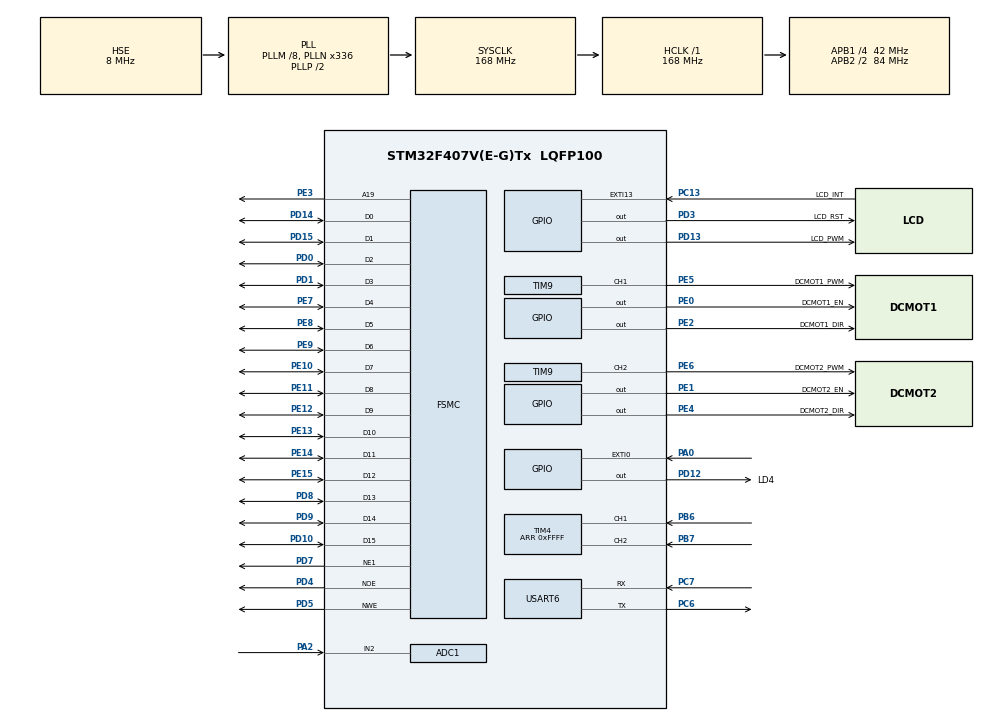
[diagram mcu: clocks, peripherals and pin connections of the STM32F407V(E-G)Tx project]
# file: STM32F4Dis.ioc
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ADC1.Channel-0\#ChannelRegularConversion=ADC_CHANNEL_2
ADC1.NbrOfConversionFlag=1
ADC1.Rank-0\#ChannelRegularConversion=1
ADC1.SamplingTime-0\#ChannelRegularConversion=ADC_SAMPLETIME_3CYCLES
ADC1.master=1
FSMC.AddressSetupTime1=0
FSMC.BusTurnAroundDuration1=0
FSMC.DataSetupTime1=9
FSMC.ExtendedAddressSetupTime1=1
FSMC.ExtendedBusTurnAroundDuration1=1
FSMC.ExtendedDataSetupTime1=10
FSMC.ExtendedMode1=FSMC_EXTENDED_MODE_ENABLE
Mcu.Family=STM32F4
Mcu.Name=STM32F407V(E-G)Tx
Mcu.Package=LQFP100
NVIC.EXTI0_IRQn=true\:0\:0\:false\:false\:true\:true
NVIC.PriorityGroup=NVIC_PRIORITYGROUP_4
NVIC.TIM3_IRQn=true\:0\:0\:false\:true\:true\:2\:true
NVIC.USART6_IRQn=true\:0\:0\:false\:true\:true\:1\:true
PA0-WKUP.Signal=GPXTI0
PA13.Mode=Serial_Wire
PA13.Signal=SYS_JTMS-SWDIO
PA14.Mode=Serial_Wire
PA14.Signal=SYS_JTCK-SWCLK
PA2.Signal=ADCx_IN2
PB6.Signal=S_TIM4_CH1
PB7.Signal=S_TIM4_CH2
PC13-ANTI_TAMP.GPIO_Label=LCD_INT
PC13-ANTI_TAMP.Signal=GPXTI13
PC14-OSC32_IN.Mode=LSE-External-Oscillator
PC14-OSC32_IN.Signal=RCC_OSC32_IN
PC15-OSC32_OUT.Mode=LSE-External-Oscillator
PC15-OSC32_OUT.Signal=RCC_OSC32_OUT
PC6.Mode=Asynchronous
PC6.Signal=USART6_TX
PC7.Mode=Asynchronous
PC7.Signal=USART6_RX
PD0.Mode=16b-d1
PD0.Signal=FSMC_D2
PD1.Mode=16b-d1
PD1.Signal=FSMC_D3
PD10.Mode=16b-d1
PD10.Signal=FSMC_D15
PD12.GPIO_Label=LD4
PD12.GPIO_Speed=GPIO_SPEED_FREQ_VERY_HIGH
PD12.Signal=GPIO_Output
PD13.GPIO_Label=LCD_PWM
PD13.GPIO_Speed=GPIO_SPEED_FREQ_MEDIUM
PD13.PinState=GPIO_PIN_SET
PD13.Signal=GPIO_Output
PD14.Mode=16b-d1
PD14.Signal=FSMC_D0
PD15.Mode=16b-d1
PD15.Signal=FSMC_D1
PD3.GPIO_Label=LCD_RST
PD3.GPIO_Speed=GPIO_SPEED_FREQ_VERY_HIGH
PD3.Signal=GPIO_Output
PD4.Mode=Lcd1
PD4.Signal=FSMC_NOE
PD5.Mode=Lcd1
PD5.Signal=FSMC_NWE
PD7.Mode=NorPsramChipSelect1_1
PD7.Signal=FSMC_NE1
PD8.Mode=16b-d1
PD8.Signal=FSMC_D13
PD9.Mode=16b-d1
PD9.Signal=FSMC_D14
PE0.GPIO_Label=DCMOT1_EN
PE0.Signal=GPIO_Output
PE1.GPIO_Label=DCMOT2_EN
PE1.GPIO_Speed=GPIO_SPEED_FREQ_VERY_HIGH
PE1.Signal=GPIO_Output
PE10.Mode=16b-d1
PE10.Signal=FSMC_D7
PE11.Mode=16b-d1
PE11.Signal=FSMC_D8
PE12.Mode=16b-d1
PE12.Signal=FSMC_D9
PE13.Mode=16b-d1
PE13.Signal=FSMC_D10
PE14.Mode=16b-d1
PE14.Signal=FSMC_D11
PE15.Mode=16b-d1
PE15.Signal=FSMC_D12
PE2.GPIO_Label=DCMOT1_DIR
PE2.GPIO_Speed=GPIO_SPEED_FREQ_VERY_HIGH
PE2.Signal=GPIO_Output
PE3.Mode=A19_1
PE3.Signal=FSMC_A19
PE4.GPIO_Label=DCMOT2_DIR
PE4.GPIO_Speed=GPIO_SPEED_FREQ_VERY_HIGH
PE4.Signal=GPIO_Output
PE5.GPIO_Label=DCMOT1_PWM
PE5.GPIO_Speed=GPIO_SPEED_FREQ_VERY_HIGH
PE5.Signal=S_TIM9_CH1
PE6.GPIO_Label=DCMOT2_PWM
PE6.GPIO_Speed=GPIO_SPEED_FREQ_VERY_HIGH
PE6.Signal=S_TIM9_CH2
PE7.Mode=16b-d1
PE7.Signal=FSMC_D4
PE8.Mode=16b-d1
PE8.Signal=FSMC_D5
PE9.Mode=16b-d1
PE9.Signal=FSMC_D6
PH0-OSC_IN.Mode=HSE-External-Oscillator
PH0-OSC_IN.Signal=RCC_OSC_IN
PH1-OSC_OUT.Mode=HSE-External-Oscillator
PH1-OSC_OUT.Signal=RCC_OSC_OUT
ProjectManager.HeapSize=0x200
ProjectManager.StackSize=0x400
ProjectManager.TargetToolchain=EWARM V8
RCC.48MHZClocksFreq_Value=84000000
RCC.AHBFreq_Value=168000000
RCC.APB1CLKDivider=RCC_HCLK_DIV4
RCC.APB1Freq_Value=42000000
RCC.APB1TimFreq_Value=84000000
RCC.APB2CLKDivider=RCC_HCLK_DIV2
RCC.APB2Freq_Value=84000000
RCC.APB2TimFreq_Value=168000000
RCC.CortexFreq_Value=168000000
RCC.HCLKFreq_Value=168000000
RCC.HSE_VALUE=8000000
RCC.HSI_VALUE=16000000
RCC.PLLM=8
RCC.PLLN=336
RCC.PLLSourceVirtual=RCC_PLLSOURCE_HSE
RCC.SYSCLKFreq_VALUE=168000000
RCC.SYSCLKSource=RCC_SYSCLKSOURCE_PLLCLK
RCC.VCOOutputFreq_Value=336000000
SH.ADCx_IN2.0=ADC1_IN2,IN2
SH.S_TIM4_CH1.0=TIM4_CH1,Encoder_Interface
SH.S_TIM4_CH2.0=TIM4_CH2,Encoder_Interface
SH.S_TIM9_CH1.0=TIM9_CH1,PWM Generation1 CH1
SH.S_TIM9_CH2.0=TIM9_CH2,PWM Generation2 CH2
TIM3.Period=1000-1
TIM3.Prescaler=84-1
TIM4.Period=0xFFFF
TIM9.Channel-PWM\ Generation1\ CH1=TIM_CHANNEL_1
TIM9.Channel-PWM\ Generation2\ CH2=TIM_CHANNEL_2
TIM9.Period=100-1
TIM9.Prescaler=84-1
TIM9.Pulse-PWM\ Generation1\ CH1=0
TIM9.Pulse-PWM\ Generation2\ CH2=0
USART6.VirtualMode=VM_ASYNC
VP_TIM3_VS_ClockSourceINT.Mode=Internal
VP_TIM9_VS_ClockSourceINT.Mode=Internal
board=custom

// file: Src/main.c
/* USER CODE BEGIN Header */
/**
  ******************************************************************************
  * @file           : main.c
  * @brief          : Main program body
  ******************************************************************************
  ** This nEotice applies to any and all portions of this file
  * that are not between comment pairs USER CODE BEGIN and
  * USER CODE END. Other portions of this file, whether
  * inserted by the user or by software development tools
  * are owned by their respective copyright owners.
  *
  * COPYRIGHT(c) 2019 STMicroelectronics
  *
  * Redistribution and use in source and binary forms, with or without modification,
  * are permitted provided that the following conditions are met:
  *   1. Redistributions of source code must retain the above copyright notice,
  *      this list of conditions and the following disclaimer.
  *   2. Redistributions in binary form must reproduce the above copyright notice,
  *      this list of conditions and the following disclaimer in the documentation
  *      and/or other materials provided with the distribution.
  *   3. Neither the name of STMicroelectronics nor the names of its contributors
  *      may be used to endorse or promote products derived from this software
  *      without specific prior written permission.
  *
  * THIS SOFTWARE IS PROVIDED BY THE COPYRIGHT HOLDERS AND CONTRIBUTORS "AS IS"
  * AND ANY EXPRESS OR IMPLIED WARRANTIES, INCLUDING, BUT NOT LIMITED TO, THE
  * IMPLIED WARRANTIES OF MERCHANTABILITY AND FITNESS FOR A PARTICULAR PURPOSE ARE
  * DISCLAIMED. IN NO EVENT SHALL THE COPYRIGHT HOLDER OR CONTRIBUTORS BE LIABLE
  * FOR ANY DIRECT, INDIRECT, INCIDENTAL, SPECIAL, EXEMPLARY, OR CONSEQUENTIAL
  * DAMAGES (INCLUDING, BUT NOT LIMITED TO, PROCUREMENT OF SUBSTITUTE GOODS OR
  * SERVICES; LOSS OF USE, DATA, OR PROFITS; OR BUSINESS INTERRUPTION) HOWEVER
  * CAUSED AND ON ANY THEORY OF LIABILITY, WHETHER IN CONTRACT, STRICT LIABILITY,
  * OR TORT (INCLUDING NEGLIGENCE OR OTHERWISE) ARISING IN ANY WAY OUT OF THE USE
  * OF THIS SOFTWARE, EVEN IF ADVISED OF THE POSSIBILITY OF SUCH DAMAGE.
  *
  ******************************************************************************
  */
/* USER CODE END Header */

#include "main.h"

/* USER CODE BEGIN Includes */
#include <string.h>
#include <math.h>

#include "stm32f4_discovery_lcd.h"
#include "mathext.h"
#include "DcMotor.h"
#include "DcMotorExtern.h"

/* USER CODE END Includes */

ADC_HandleTypeDef hadc1;

TIM_HandleTypeDef htim3;
TIM_HandleTypeDef htim4;
TIM_HandleTypeDef htim9;

UART_HandleTypeDef huart6;

SRAM_HandleTypeDef hsram1;

/* USER CODE BEGIN PV */
typedef enum _bool{
  FALSE = 0,
  TRUE =1
} bool;

struct{
  float Kp;
  float Ki;
  float Kd;
} PidParam={0.3, 0.002, 0.005};

enum {
  STATE_IDLE = 0,
  STATE_RUN_SAVE,
  STATE_NORUN_PRINT,
  STATE_RUN_ONLY,
} RunState={STATE_RUN_SAVE};

bool flagTim3=FALSE;
int16_t flagUser=0; //user button press

/* USER CODE END PV */

void SystemClock_Config(void);
static void MX_GPIO_Init(void);
static void MX_FSMC_Init(void);
static void MX_USART6_UART_Init(void);
static void MX_ADC1_Init(void);
static void MX_TIM3_Init(void);
static void MX_TIM9_Init(void);
static void MX_TIM4_Init(void);
static void MX_NVIC_Init(void);
/* USER CODE BEGIN PFP */
/* Private function prototypes -----------------------------------------------*/

/* USER CODE END PFP */

/* USER CODE BEGIN 0 */
#define LCD_X0 10
#define LCD_Y0 215
#define LCD_GRAPH_WIDTH  300
#define LCD_GRAPH_HEIGHT 200

void LCD_Plot_Axis(void)
{
  //  STM32f4_Discovery_LCD_Init();
  STM32f4_HAL_Discovery_LCD_Init();

  /* Display message on stm32f4_discovery LCD **********************************/
  /* Clear the LCD */
  LCD_Clear(LCD_COLOR_BLACK);

  /* Set the LCD Back Color */
  LCD_SetBackColor(LCD_COLOR_BLACK);
  /* Set the LCD Text Color */
  LCD_SetTextColor(LCD_COLOR_WHITE);

 //300x200으로 사각형 그리기
  LCD_DrawRect(LCD_X0-1, LCD_Y0-(LCD_GRAPH_HEIGHT+1),
               LCD_X0+(LCD_GRAPH_WIDTH+1), LCD_Y0-15 );
  LCD_DrawLine(LCD_X0-1, LCD_Y0, LCD_GRAPH_WIDTH+1, LCD_DIR_HORIZONTAL);

  LCD_SetTextColor(LCD_COLOR_BLUE);
  LCD_DrawLine(LCD_X0+1, LCD_Y0-150, LCD_GRAPH_WIDTH+2, LCD_DIR_HORIZONTAL);
  LCD_SetTextColor(LCD_COLOR_WHITE);

   LCD_SetFont(&LCD_DEFAULT_FONT);
}

void PidControlInit()
{
  // DC Motor 관련변수 초기화
    DcMotor1.Encoder16Old = 0;
    DcMotor1.Encoder32 = 0;
    DcMotor1.Encoder32Old = 0;
    DcMotor1.Encoder32Diff = 0;

   // 제어기 관련변수 초기화
    Controller1.Target32 = WHEEL_RESOLUTION;
    Controller1.ErrorOld32 = 0;
    Controller1.ErrorSum32 =0;
    Controller1.loop =0;

    //PWM duty =0
    DcMotor1SetDutyPulse(&htim9, 0);
    DcMotor2SetDutyPulse(&htim9, 0);

    //htim4->CNT <= 0x0000 (16bit 카운터)
    __HAL_TIM_SET_COUNTER(&htim4,   0x0000);
}

void PidControl()
{
   float TermKp,TermKi,TermKd;
   Controller1.Error32 = Controller1.Target32- Controller1.Output32; // 목표값과 현재 플랜트 출력의 오차
   Controller1.ErrorSum32 += Controller1.Error32; //오차의 합(적분값)
   Controller1.ErrorDiff32 = Controller1.Error32- Controller1.ErrorOld32; // 샘플간 오차의 차이(미분값)
   Controller1.ErrorOld32 = Controller1.Error32;

   //ErrorSum 최대값 제한
   #define ERRROR_SUM_MAX  (WHEEL_RESOLUTION*100)
 //  Controller1.ErrorSum = LimitFloat(Controller1.ErrorSum , ERRROR_SUM_MAX);
   #undef ERRROR_SUM_MAX

    TermKp =  PidParam.Kp * Controller1.Error32 ; //비례제어값
    TermKi = PidParam.Ki * Controller1.ErrorSum32 * Tsample; //적분제어값
    TermKd =  PidParam.Kd * Controller1.ErrorDiff32 / Tsample ;//미분제어값
    Controller1.f = TermKp + TermKi + TermKd;

    //PWM pulse 실수=>정수값 변환
    Controller1.U = FloatToInt16Limit( Controller1.f ,  U_MAX);
    //PWM dead zone 피하기
    Controller1.U  = AvoidDeadzone(Controller1.U, 14, -14);
    //PWM pulse 값 설정
    DcMotor1SetDutyPulse(&htim9, Controller1.U);

}

void PidControlRecord()
{
    Backup1.RecordOutput[Controller1.loop]= Controller1.Output32;
    Backup1.RecordU[Controller1.loop] = Controller1.U;
//    DcMotor1.Recordu[DcMotor1.loop] = DcMotor1.u;
//    DcMotor1.RecordError[DcMotor1.loop] = DcMotor1.Error;
//   DcMotor1.RecordErrorSum[DcMotor1.loop] = DcMotor1.ErrorSum;
//   DcMotor1.RecordErrorDiff[DcMotor1.loop] = DcMotor1.ErrorDiff;
}

void PidControlResultTransmit()
{
  char string[200];
  HAL_UART_Transmit(&huart6, (uint8_t *)"Record Print\r\n", strlen("Record Print\r\n"), 1000);
  for(int i=0 ; i<RECORD_MAX ; i++ ){
      sprintf(string, "%7d %5d %6d \r\n", i, Backup1.RecordOutput[i], Backup1.RecordU[i]);
      HAL_UART_Transmit( &huart6, (uint8_t *)string, strlen(string), 1000);
  }
}

uint16_t Y1[300];

void Plot()
{
   char string[200];
   uint16_t y, x;
   x= Controller1.loop %300 ;
   LCD_SetTextColor(LCD_COLOR_BLACK);
   y=(int32_t)( Y1[Controller1.loop]/(float)Controller1.Target32*150.0+0.5);
   LCD_PutPixel(LCD_X0+x, LCD_Y0-y);

   Y1[Controller1.loop] = Controller1.Output32;
   LCD_SetTextColor(LCD_COLOR_WHITE);
   //목표값을 y축의 150선상에 놓기
   y=(int32_t)( Y1[Controller1.loop]/(float)Controller1.Target32*150.0+0.5);
   LCD_PutPixel(LCD_X0+x, LCD_Y0-y);

   sprintf(string, "%6d", Controller1.Output32);
   LCD_DisplayStringLine(LCD_LINE_0, (uint8_t *)string);

}
/* USER CODE END 0 */

int main(void)
{
  /* USER CODE BEGIN 1 */
   char string[200];

  /* USER CODE END 1 */

  /* MCU Configuration--------------------------------------------------------*/

  /* Reset of all peripherals, Initializes the Flash interface and the Systick. */
  HAL_Init();

  /* Configure the system clock */
  SystemClock_Config();

  /* Initialize all configured peripherals */
  MX_GPIO_Init();
  MX_FSMC_Init();
  MX_USART6_UART_Init();
  MX_ADC1_Init();
  MX_TIM3_Init();
  MX_TIM9_Init();
  MX_TIM4_Init();

  /* Initialize interrupts */
  MX_NVIC_Init();
  /* USER CODE BEGIN 2 */

   LCD_Plot_Axis();//LCD에 그래프 박스 그리기

  HAL_UART_Transmit(&huart6, (uint8_t *)"Start\r\n", strlen("Start\r\n"), 1000);

  //TIM9 PWM outpout 시작
  HAL_TIM_PWM_Start(&htim9, TIM_CHANNEL_1);
  HAL_TIM_PWM_Start(&htim9, TIM_CHANNEL_2);
  //TIM4 encoder mode 시작
  HAL_TIM_Encoder_Start(&htim4, TIM_CHANNEL_1 | TIM_CHANNEL_2);
  //TIM3  time interrupt 시작
  HAL_TIM_Base_Start_IT(&htim3);

  //Pid제어기 초기화
  PidControlInit();

  /* USER CODE END 2 */

  /* Infinite loop */
    while (1){

    /* USER CODE BEGIN 3 */
        if( flagTim3==TRUE){
            //LD4에 오실로스코우프 프로브 연결 파형 측정
            HAL_GPIO_WritePin(LD4_GPIO_Port, LD4_Pin,GPIO_PIN_SET);

            switch(RunState){
               case STATE_RUN_SAVE:
                  if(Controller1.loop< RECORD_MAX){
                     PidControl();
                     PidControlRecord();
                     Plot();
                     Controller1.loop++;
                  }else {
                     Controller1.loop = 0;
                     RunState = STATE_RUN_ONLY;
                  }
                  break;

               case STATE_NORUN_PRINT:
                  //TIM3 interrupt disable
                  HAL_NVIC_DisableIRQ( TIM3_IRQn);
                  PidControlResultTransmit();
                  Controller1.loop = 0;
                  RunState = STATE_RUN_ONLY;
                  //TIM3 interrupt enable
                  HAL_NVIC_EnableIRQ( TIM3_IRQn);
                  break;

               case STATE_RUN_ONLY:
                  PidControl();
                  sprintf(string, " %6d", Controller1.Output32);
                  LCD_DisplayStringLine(LCD_LINE_0, (uint8_t *)string);
                  break;

            case STATE_IDLE:
                  break;
            }

            flagTim3=FALSE;
            HAL_GPIO_WritePin(LD4_GPIO_Port, LD4_Pin,GPIO_PIN_RESET);
        }
    }
  /* USER CODE END 3 */
}

void SystemClock_Config(void)
{
  RCC_OscInitTypeDef RCC_OscInitStruct = {0};
  RCC_ClkInitTypeDef RCC_ClkInitStruct = {0};

  /**Configure the main internal regulator output voltage
  */
  __HAL_RCC_PWR_CLK_ENABLE();
  __HAL_PWR_VOLTAGESCALING_CONFIG(PWR_REGULATOR_VOLTAGE_SCALE1);
  /**Initializes the CPU, AHB and APB busses clocks
  */
  RCC_OscInitStruct.OscillatorType = RCC_OSCILLATORTYPE_HSE;
  RCC_OscInitStruct.HSEState = RCC_HSE_ON;
  RCC_OscInitStruct.PLL.PLLState = RCC_PLL_ON;
  RCC_OscInitStruct.PLL.PLLSource = RCC_PLLSOURCE_HSE;
  RCC_OscInitStruct.PLL.PLLM = 8;
  RCC_OscInitStruct.PLL.PLLN = 336;
  RCC_OscInitStruct.PLL.PLLP = RCC_PLLP_DIV2;
  RCC_OscInitStruct.PLL.PLLQ = 4;
  if (HAL_RCC_OscConfig(&RCC_OscInitStruct) != HAL_OK)
  {
    Error_Handler();
  }
  /**Initializes the CPU, AHB and APB busses clocks
  */
  RCC_ClkInitStruct.ClockType = RCC_CLOCKTYPE_HCLK|RCC_CLOCKTYPE_SYSCLK
                              |RCC_CLOCKTYPE_PCLK1|RCC_CLOCKTYPE_PCLK2;
  RCC_ClkInitStruct.SYSCLKSource = RCC_SYSCLKSOURCE_PLLCLK;
  RCC_ClkInitStruct.AHBCLKDivider = RCC_SYSCLK_DIV1;
  RCC_ClkInitStruct.APB1CLKDivider = RCC_HCLK_DIV4;
  RCC_ClkInitStruct.APB2CLKDivider = RCC_HCLK_DIV2;

  if (HAL_RCC_ClockConfig(&RCC_ClkInitStruct, FLASH_LATENCY_5) != HAL_OK)
  {
    Error_Handler();
  }
}

/**
  * @brief NVIC Configuration.
  * @retval None
  */
static void MX_NVIC_Init(void)
{
  /* USART6_IRQn interrupt configuration */
  HAL_NVIC_SetPriority(USART6_IRQn, 0, 0);
  HAL_NVIC_EnableIRQ(USART6_IRQn);
  /* TIM3_IRQn interrupt configuration */
  HAL_NVIC_SetPriority(TIM3_IRQn, 0, 0);
  HAL_NVIC_EnableIRQ(TIM3_IRQn);
}

static void MX_ADC1_Init(void)
{

  ADC_ChannelConfTypeDef sConfig = {0};

  /**Configure the global features of the ADC (Clock, Resolution, Data Alignment and number of conversion)
  */
  hadc1.Instance = ADC1;
  hadc1.Init.ClockPrescaler = ADC_CLOCK_SYNC_PCLK_DIV4;
  hadc1.Init.Resolution = ADC_RESOLUTION_12B;
  hadc1.Init.ScanConvMode = DISABLE;
  hadc1.Init.ContinuousConvMode = DISABLE;
  hadc1.Init.DiscontinuousConvMode = DISABLE;
  hadc1.Init.ExternalTrigConvEdge = ADC_EXTERNALTRIGCONVEDGE_NONE;
  hadc1.Init.ExternalTrigConv = ADC_SOFTWARE_START;
  hadc1.Init.DataAlign = ADC_DATAALIGN_RIGHT;
  hadc1.Init.NbrOfConversion = 1;
  hadc1.Init.DMAContinuousRequests = DISABLE;
  hadc1.Init.EOCSelection = ADC_EOC_SINGLE_CONV;
  if (HAL_ADC_Init(&hadc1) != HAL_OK)
  {
    Error_Handler();
  }
  /**Configure for the selected ADC regular channel its corresponding rank in the sequencer and its sample time.
  */
  sConfig.Channel = ADC_CHANNEL_2;
  sConfig.Rank = 1;
  sConfig.SamplingTime = ADC_SAMPLETIME_3CYCLES;
  if (HAL_ADC_ConfigChannel(&hadc1, &sConfig) != HAL_OK)
  {
    Error_Handler();
  }

}

static void MX_TIM3_Init(void)
{

  TIM_ClockConfigTypeDef sClockSourceConfig = {0};
  TIM_MasterConfigTypeDef sMasterConfig = {0};

  htim3.Instance = TIM3;
  htim3.Init.Prescaler = 84-1;
  htim3.Init.CounterMode = TIM_COUNTERMODE_UP;
  htim3.Init.Period = 1000-1;
  htim3.Init.ClockDivision = TIM_CLOCKDIVISION_DIV1;
  if (HAL_TIM_Base_Init(&htim3) != HAL_OK)
  {
    Error_Handler();
  }
  sClockSourceConfig.ClockSource = TIM_CLOCKSOURCE_INTERNAL;
  if (HAL_TIM_ConfigClockSource(&htim3, &sClockSourceConfig) != HAL_OK)
  {
    Error_Handler();
  }
  sMasterConfig.MasterOutputTrigger = TIM_TRGO_RESET;
  sMasterConfig.MasterSlaveMode = TIM_MASTERSLAVEMODE_DISABLE;
  if (HAL_TIMEx_MasterConfigSynchronization(&htim3, &sMasterConfig) != HAL_OK)
  {
    Error_Handler();
  }

}

static void MX_TIM4_Init(void)
{

  TIM_Encoder_InitTypeDef sConfig = {0};
  TIM_MasterConfigTypeDef sMasterConfig = {0};

  htim4.Instance = TIM4;
  htim4.Init.Prescaler = 0;
  htim4.Init.CounterMode = TIM_COUNTERMODE_UP;
  htim4.Init.Period = 0xFFFF;
  htim4.Init.ClockDivision = TIM_CLOCKDIVISION_DIV1;
  sConfig.EncoderMode = TIM_ENCODERMODE_TI1;
  sConfig.IC1Polarity = TIM_ICPOLARITY_RISING;
  sConfig.IC1Selection = TIM_ICSELECTION_DIRECTTI;
  sConfig.IC1Prescaler = TIM_ICPSC_DIV1;
  sConfig.IC1Filter = 0;
  sConfig.IC2Polarity = TIM_ICPOLARITY_RISING;
  sConfig.IC2Selection = TIM_ICSELECTION_DIRECTTI;
  sConfig.IC2Prescaler = TIM_ICPSC_DIV1;
  sConfig.IC2Filter = 0;
  if (HAL_TIM_Encoder_Init(&htim4, &sConfig) != HAL_OK)
  {
    Error_Handler();
  }
  sMasterConfig.MasterOutputTrigger = TIM_TRGO_RESET;
  sMasterConfig.MasterSlaveMode = TIM_MASTERSLAVEMODE_DISABLE;
  if (HAL_TIMEx_MasterConfigSynchronization(&htim4, &sMasterConfig) != HAL_OK)
  {
    Error_Handler();
  }

}

static void MX_TIM9_Init(void)
{

  TIM_ClockConfigTypeDef sClockSourceConfig = {0};
  TIM_OC_InitTypeDef sConfigOC = {0};

  htim9.Instance = TIM9;
  htim9.Init.Prescaler = 84-1;
  htim9.Init.CounterMode = TIM_COUNTERMODE_UP;
  htim9.Init.Period = 100-1;
  htim9.Init.ClockDivision = TIM_CLOCKDIVISION_DIV1;
  if (HAL_TIM_Base_Init(&htim9) != HAL_OK)
  {
    Error_Handler();
  }
  sClockSourceConfig.ClockSource = TIM_CLOCKSOURCE_INTERNAL;
  if (HAL_TIM_ConfigClockSource(&htim9, &sClockSourceConfig) != HAL_OK)
  {
    Error_Handler();
  }
  if (HAL_TIM_PWM_Init(&htim9) != HAL_OK)
  {
    Error_Handler();
  }
  sConfigOC.OCMode = TIM_OCMODE_PWM1;
  sConfigOC.Pulse = 0;
  sConfigOC.OCPolarity = TIM_OCPOLARITY_HIGH;
  sConfigOC.OCFastMode = TIM_OCFAST_DISABLE;
  if (HAL_TIM_PWM_ConfigChannel(&htim9, &sConfigOC, TIM_CHANNEL_1) != HAL_OK)
  {
    Error_Handler();
  }
  if (HAL_TIM_PWM_ConfigChannel(&htim9, &sConfigOC, TIM_CHANNEL_2) != HAL_OK)
  {
    Error_Handler();
  }
  HAL_TIM_MspPostInit(&htim9);

}

static void MX_USART6_UART_Init(void)
{

  huart6.Instance = USART6;
  huart6.Init.BaudRate = 115200;
  huart6.Init.WordLength = UART_WORDLENGTH_8B;
  huart6.Init.StopBits = UART_STOPBITS_1;
  huart6.Init.Parity = UART_PARITY_NONE;
  huart6.Init.Mode = UART_MODE_TX_RX;
  huart6.Init.HwFlowCtl = UART_HWCONTROL_NONE;
  huart6.Init.OverSampling = UART_OVERSAMPLING_16;
  if (HAL_UART_Init(&huart6) != HAL_OK)
  {
    Error_Handler();
  }

}

static void MX_GPIO_Init(void)
{
  GPIO_InitTypeDef GPIO_InitStruct = {0};

  /* GPIO Ports Clock Enable */
  __HAL_RCC_GPIOE_CLK_ENABLE();
  __HAL_RCC_GPIOC_CLK_ENABLE();
  __HAL_RCC_GPIOH_CLK_ENABLE();
  __HAL_RCC_GPIOA_CLK_ENABLE();
  __HAL_RCC_GPIOD_CLK_ENABLE();
  __HAL_RCC_GPIOB_CLK_ENABLE();

  /*Configure GPIO pin Output Level */
  HAL_GPIO_WritePin(GPIOE, DCMOT1_DIR_Pin|DCMOT2_DIR_Pin|DCMOT1_EN_Pin|DCMOT2_EN_Pin, GPIO_PIN_RESET);

  /*Configure GPIO pin Output Level */
  HAL_GPIO_WritePin(GPIOD, LD4_Pin|LCD_RST_Pin, GPIO_PIN_RESET);

  /*Configure GPIO pin Output Level */
  HAL_GPIO_WritePin(LCD_PWM_GPIO_Port, LCD_PWM_Pin, GPIO_PIN_SET);

  /*Configure GPIO pins : DCMOT1_DIR_Pin DCMOT2_DIR_Pin DCMOT2_EN_Pin */
  GPIO_InitStruct.Pin = DCMOT1_DIR_Pin|DCMOT2_DIR_Pin|DCMOT2_EN_Pin;
  GPIO_InitStruct.Mode = GPIO_MODE_OUTPUT_PP;
  GPIO_InitStruct.Pull = GPIO_NOPULL;
  GPIO_InitStruct.Speed = GPIO_SPEED_FREQ_VERY_HIGH;
  HAL_GPIO_Init(GPIOE, &GPIO_InitStruct);

  /*Configure GPIO pin : LCD_INT_Pin */
  GPIO_InitStruct.Pin = LCD_INT_Pin;
  GPIO_InitStruct.Mode = GPIO_MODE_IT_RISING;
  GPIO_InitStruct.Pull = GPIO_NOPULL;
  HAL_GPIO_Init(LCD_INT_GPIO_Port, &GPIO_InitStruct);

  /*Configure GPIO pin : PA0 */
  GPIO_InitStruct.Pin = GPIO_PIN_0;
  GPIO_InitStruct.Mode = GPIO_MODE_IT_RISING;
  GPIO_InitStruct.Pull = GPIO_NOPULL;
  HAL_GPIO_Init(GPIOA, &GPIO_InitStruct);

  /*Configure GPIO pins : LD4_Pin LCD_RST_Pin */
  GPIO_InitStruct.Pin = LD4_Pin|LCD_RST_Pin;
  GPIO_InitStruct.Mode = GPIO_MODE_OUTPUT_PP;
  GPIO_InitStruct.Pull = GPIO_NOPULL;
  GPIO_InitStruct.Speed = GPIO_SPEED_FREQ_VERY_HIGH;
  HAL_GPIO_Init(GPIOD, &GPIO_InitStruct);

  /*Configure GPIO pin : LCD_PWM_Pin */
  GPIO_InitStruct.Pin = LCD_PWM_Pin;
  GPIO_InitStruct.Mode = GPIO_MODE_OUTPUT_PP;
  GPIO_InitStruct.Pull = GPIO_NOPULL;
  GPIO_InitStruct.Speed = GPIO_SPEED_FREQ_MEDIUM;
  HAL_GPIO_Init(LCD_PWM_GPIO_Port, &GPIO_InitStruct);

  /*Configure GPIO pin : DCMOT1_EN_Pin */
  GPIO_InitStruct.Pin = DCMOT1_EN_Pin;
  GPIO_InitStruct.Mode = GPIO_MODE_OUTPUT_PP;
  GPIO_InitStruct.Pull = GPIO_NOPULL;
  GPIO_InitStruct.Speed = GPIO_SPEED_FREQ_LOW;
  HAL_GPIO_Init(DCMOT1_EN_GPIO_Port, &GPIO_InitStruct);

  /* EXTI interrupt init*/
  HAL_NVIC_SetPriority(EXTI0_IRQn, 0, 0);
  HAL_NVIC_EnableIRQ(EXTI0_IRQn);

}

/* FSMC initialization function */
static void MX_FSMC_Init(void)
{
  FSMC_NORSRAM_TimingTypeDef Timing;
  FSMC_NORSRAM_TimingTypeDef ExtTiming;

  /** Perform the SRAM1 memory initialization sequence
  */
  hsram1.Instance = FSMC_NORSRAM_DEVICE;
  hsram1.Extended = FSMC_NORSRAM_EXTENDED_DEVICE;
  /* hsram1.Init */
  hsram1.Init.NSBank = FSMC_NORSRAM_BANK1;
  hsram1.Init.DataAddressMux = FSMC_DATA_ADDRESS_MUX_DISABLE;
  hsram1.Init.MemoryType = FSMC_MEMORY_TYPE_SRAM;
  hsram1.Init.MemoryDataWidth = FSMC_NORSRAM_MEM_BUS_WIDTH_16;
  hsram1.Init.BurstAccessMode = FSMC_BURST_ACCESS_MODE_DISABLE;
  hsram1.Init.WaitSignalPolarity = FSMC_WAIT_SIGNAL_POLARITY_LOW;
  hsram1.Init.WrapMode = FSMC_WRAP_MODE_DISABLE;
  hsram1.Init.WaitSignalActive = FSMC_WAIT_TIMING_BEFORE_WS;
  hsram1.Init.WriteOperation = FSMC_WRITE_OPERATION_ENABLE;
  hsram1.Init.WaitSignal = FSMC_WAIT_SIGNAL_DISABLE;
  hsram1.Init.ExtendedMode = FSMC_EXTENDED_MODE_ENABLE;
  hsram1.Init.AsynchronousWait = FSMC_ASYNCHRONOUS_WAIT_DISABLE;
  hsram1.Init.WriteBurst = FSMC_WRITE_BURST_DISABLE;
  hsram1.Init.PageSize = FSMC_PAGE_SIZE_NONE;
  /* Timing */
  Timing.AddressSetupTime = 0;
  Timing.AddressHoldTime = 15;
  Timing.DataSetupTime = 9;
  Timing.BusTurnAroundDuration = 0;
  Timing.CLKDivision = 16;
  Timing.DataLatency = 17;
  Timing.AccessMode = FSMC_ACCESS_MODE_A;
  /* ExtTiming */
  ExtTiming.AddressSetupTime = 1;
  ExtTiming.AddressHoldTime = 15;
  ExtTiming.DataSetupTime = 10;
  ExtTiming.BusTurnAroundDuration = 1;
  ExtTiming.CLKDivision = 16;
  ExtTiming.DataLatency = 17;
  ExtTiming.AccessMode = FSMC_ACCESS_MODE_A;

  if (HAL_SRAM_Init(&hsram1, &Timing, &ExtTiming) != HAL_OK)
  {
    Error_Handler( );
  }

}

/* USER CODE BEGIN 4 */
void HAL_GPIO_EXTI_Callback(uint16_t GPIO_Pin)
{
  if(GPIO_Pin== GPIO_PIN_0){
    flagUser =1;
  }
}

void HAL_TIM_PeriodElapsedCallback(TIM_HandleTypeDef *htim)
{
   if( htim->Instance == TIM3) {
      flagTim3 = TRUE;

      //엔코더 위치 및 샘플링당 엔코더차이(속도) 16bit 계산
      DcMotor1.Encoder16 = DcMotor1ReadEncoder();
      DcMotor1.Encoder16Diff= DcMotor1.Encoder16- DcMotor1.Encoder16Old;
      DcMotor1.Encoder16Old = DcMotor1.Encoder16;

       //엔코더 위치 및 샘플링당 엔코더차이(속도) 32bit 로 확장
      DcMotor1.Encoder32 += DcMotor1.Encoder16Diff;
      DcMotor1.Encoder32Diff = DcMotor1.Encoder32- DcMotor1.Encoder32Old;
      DcMotor1.Encoder32Old = DcMotor1.Encoder32;

      Controller1.Output32 = DcMotor1.Encoder32;
   }
}
/* USER CODE END 4 */

void Error_Handler(void)
{
  while(1)
  {
  }
}

/************************ (C) COPYRIGHT STMicroelectronics *****END OF FILE****/
